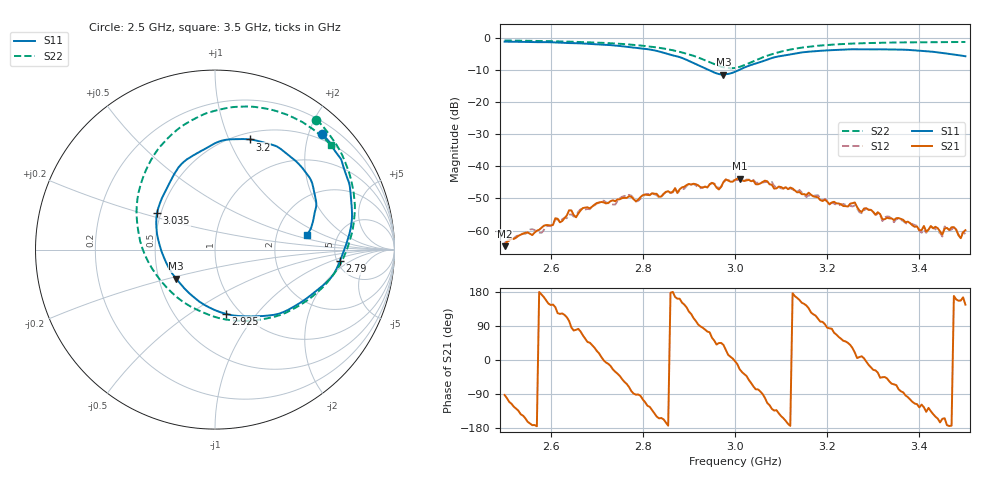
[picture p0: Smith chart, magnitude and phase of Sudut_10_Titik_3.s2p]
# Hz S RI R 50
! CMT, C1220, 16058040, 17.2.0/1
! Date: 15/08/2018 10:39:17
! Data: Format (Calibration Info)
! Freq  S11: Re/Im (F2)  S21: Re/Im (F2)  S12: Re/Im (F2)  S22: Re/Im (F2)
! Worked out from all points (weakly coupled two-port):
!   201 points, 2.5 GHz to 3.5 GHz, reference 50 ohm
!   highest |S21| = -43.81 dB at 3.01 GHz (marker M1); lowest = -64.9 dB at 2.5 GHz (marker M2)
!   lowest |S11| = -11.4 dB at 2.975 GHz (marker M3), VSWR 1.74, Z = 30.8 - j10.8 ohm
!   |S11| at or under -10 dB: 2.944 GHz to 3.008 GHz (63.91 MHz wide, 2.15 % of centre)
!   |S22| runs from -9.4 to -0.7 dB; largest |S21 - S12| = 0.00056
!   S11 on the Smith chart (normalised r, x): 2.5 GHz: 0.39, +2.22; 2.79 GHz: 5.28, -1.34; 2.925 GHz: 0.86, -0.71; 3.035 GHz: 0.48, +0.23; 3.2 GHz: 0.57, +1.20; 3.5 GHz: 3.00, +0.69
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2.5e9  0.5961 0.6466  -2.3e-05 -0.00057  3.07e-05 -0.000642  0.5652 0.7242
2.67e9  0.7533 0.3339  0.000956 0.00203  0.00107 0.00191  0.7387 0.4521
2.77e9  0.7259 0.0149  0.0011 -0.00324  0.00108 -0.00342  0.7759 0.1744
2.79e9  0.6952 -0.0648  -5.34e-05 -0.00303  -0.000193 -0.0029  0.7654 0.1042
2.835e9  0.5791 -0.2179  -0.00302 -0.00147  -0.00293 -0.00145  0.7037 -0.0702
2.9e9  0.2367 -0.3714  -0.00326 0.00421  -0.00343 0.00409  0.4542 -0.3206
2.925e9  0.0616 -0.3582  9.95e-05 0.00474  -0.000128 0.00457  0.2937 -0.3823
2.975e9  -0.2166 -0.162  0.00439 0.00365  0.0043 0.00353  -0.0997 -0.3353
3e9  -0.2982 -0.00914  0.00614 -0.000343  0.00608 -0.000666  -0.2724 -0.2076
3.01e9  -0.3165 0.0554  0.00589 -0.00263  0.00569 -0.00237  -0.3273 -0.1401
3.035e9  -0.3229 0.2032  0.00286 -0.00513  0.00305 -0.00511  -0.4175 0.0487
3.105e9  -0.137 0.5152  -0.00406 -0.00201  -0.00405 -0.00188  -0.3378 0.5299
3.17e9  0.0932 0.6148  -0.00173 0.00293  -0.00203 0.00281  -0.0879 0.7421
3.2e9  0.1934 0.6139  0.000232 0.00283  0.000344 0.00288  0.0225 0.7789
3.26e9  0.3553 0.5683  0.00258 0.000921  0.00234 0.000784  0.2129 0.7958
3.32e9  0.4729 0.4704  0.00105 -0.00107  0.00101 -0.000975  0.363 0.7648
3.335e9  0.4953 0.4433  0.000853 -0.00129  0.000849 -0.0014  0.3952 0.7539
3.45e9  0.5534 0.1943  -0.000783 -0.000361  -0.000723 -0.000358  0.5873 0.6385
3.455e9  0.5505 0.1813  -0.000963 -0.000475  -0.00104 -0.000491  0.5938 0.6334
3.475e9  0.5391 0.1307  -0.00111 0.000214  -0.00111 0.000201  0.6176 0.611
3.49e9  0.5253 0.1014  -0.000698 0.000297  -0.000741 0.000379  0.6355 0.5927
3.5e9  0.5145 0.0835  -0.00084 0.000564  -0.00072 0.000503  0.6467 0.5817
